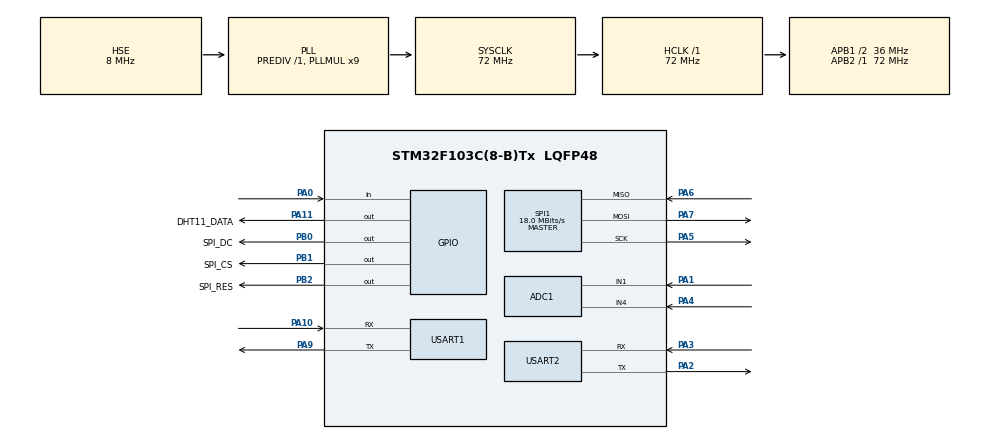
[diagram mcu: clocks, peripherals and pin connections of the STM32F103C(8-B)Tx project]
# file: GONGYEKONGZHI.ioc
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ADC1.Channel-2\#ChannelRegularConversion=ADC_CHANNEL_1
ADC1.Channel-3\#ChannelRegularConversion=ADC_CHANNEL_4
ADC1.ContinuousConvMode=ENABLE
ADC1.NbrOfConversion=2
ADC1.NbrOfConversionFlag=1
ADC1.Rank-2\#ChannelRegularConversion=1
ADC1.Rank-3\#ChannelRegularConversion=2
ADC1.SamplingTime-2\#ChannelRegularConversion=ADC_SAMPLETIME_7CYCLES_5
ADC1.SamplingTime-3\#ChannelRegularConversion=ADC_SAMPLETIME_7CYCLES_5
ADC1.master=1
Dma.ADC1.0.Direction=DMA_PERIPH_TO_MEMORY
Dma.ADC1.0.Instance=DMA1_Channel1
Dma.ADC1.0.MemDataAlignment=DMA_MDATAALIGN_HALFWORD
Dma.ADC1.0.MemInc=DMA_MINC_ENABLE
Dma.ADC1.0.Mode=DMA_NORMAL
Dma.ADC1.0.PeriphDataAlignment=DMA_PDATAALIGN_HALFWORD
Dma.ADC1.0.PeriphInc=DMA_PINC_DISABLE
Dma.ADC1.0.Priority=DMA_PRIORITY_HIGH
Dma.Request0=ADC1
Mcu.Family=STM32F1
Mcu.Name=STM32F103C(8-B)Tx
Mcu.Package=LQFP48
NVIC.DMA1_Channel1_IRQn=true\:0\:0\:false\:false\:true\:false\:true\:true
NVIC.PriorityGroup=NVIC_PRIORITYGROUP_4
NVIC.TIM2_IRQn=true\:0\:0\:false\:false\:true\:true\:true\:true
PA0-WKUP.Signal=GPIO_Input
PA1.Signal=ADCx_IN1
PA10.Mode=Asynchronous
PA10.Signal=USART1_RX
PA11.GPIO_Label=DHT11_DATA
PA11.GPIO_Speed=GPIO_SPEED_FREQ_HIGH
PA11.Signal=GPIO_Output
PA13.Mode=Serial_Wire
PA13.Signal=SYS_JTMS-SWDIO
PA14.Mode=Serial_Wire
PA14.Signal=SYS_JTCK-SWCLK
PA2.Mode=Asynchronous
PA2.Signal=USART2_TX
PA3.Mode=Asynchronous
PA3.Signal=USART2_RX
PA4.Signal=ADCx_IN4
PA5.Mode=Full_Duplex_Master
PA5.Signal=SPI1_SCK
PA6.Mode=Full_Duplex_Master
PA6.Signal=SPI1_MISO
PA7.Mode=Full_Duplex_Master
PA7.Signal=SPI1_MOSI
PA9.Mode=Asynchronous
PA9.Signal=USART1_TX
PB0.GPIO_Label=SPI_DC
PB0.GPIO_Speed=GPIO_SPEED_FREQ_HIGH
PB0.PinState=GPIO_PIN_SET
PB0.Signal=GPIO_Output
PB1.GPIO_Label=SPI_CS
PB1.GPIO_Speed=GPIO_SPEED_FREQ_HIGH
PB1.PinState=GPIO_PIN_SET
PB1.Signal=GPIO_Output
PB2.GPIO_Label=SPI_RES
PB2.GPIO_Speed=GPIO_SPEED_FREQ_HIGH
PB2.PinState=GPIO_PIN_SET
PB2.Signal=GPIO_Output
PC14-OSC32_IN.Mode=LSE-External-Oscillator
PC14-OSC32_IN.Signal=RCC_OSC32_IN
PC15-OSC32_OUT.Mode=LSE-External-Oscillator
PC15-OSC32_OUT.Signal=RCC_OSC32_OUT
PD0-OSC_IN.Mode=HSE-External-Oscillator
PD0-OSC_IN.Signal=RCC_OSC_IN
PD1-OSC_OUT.Mode=HSE-External-Oscillator
PD1-OSC_OUT.Signal=RCC_OSC_OUT
ProjectManager.HeapSize=0x200
ProjectManager.StackSize=0x400
ProjectManager.TargetToolchain=MDK-ARM V5.32
RCC.ADCPresc=RCC_ADCPCLK2_DIV6
RCC.AHBFreq_Value=72000000
RCC.APB1CLKDivider=RCC_HCLK_DIV2
RCC.APB1Freq_Value=36000000
RCC.APB1TimFreq_Value=72000000
RCC.APB2Freq_Value=72000000
RCC.APB2TimFreq_Value=72000000
RCC.HCLKFreq_Value=72000000
RCC.PLLMUL=RCC_PLL_MUL9
RCC.PLLSourceVirtual=RCC_PLLSOURCE_HSE
RCC.SYSCLKFreq_VALUE=72000000
RCC.SYSCLKSource=RCC_SYSCLKSOURCE_PLLCLK
RCC.USBFreq_Value=72000000
SH.ADCx_IN1.0=ADC1_IN1,IN1
SH.ADCx_IN4.0=ADC1_IN4,IN4
SPI1.BaudRatePrescaler=SPI_BAUDRATEPRESCALER_4
SPI1.CalculateBaudRate=18.0 MBits/s
SPI1.Direction=SPI_DIRECTION_2LINES
SPI1.Mode=SPI_MODE_MASTER
SPI1.VirtualType=VM_MASTER
TIM2.Period=10-1
TIM2.Prescaler=7200-1
TIM3.Prescaler=71
USART1.VirtualMode=VM_ASYNC
USART2.VirtualMode=VM_ASYNC
VP_TIM2_VS_ClockSourceINT.Mode=Internal
VP_TIM3_VS_ClockSourceINT.Mode=Internal
board=custom

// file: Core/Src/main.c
/* USER CODE BEGIN Header */
/**
  ******************************************************************************
  * @file           : main.c
  * @brief          : Main program body
  ******************************************************************************
  * @attention
  *
  * Copyright (c) 2025 STMicroelectronics.
  * All rights reserved.
  *
  * This software is licensed under terms that can be found in the LICENSE file
  * in the root directory of this software component.
  * If no LICENSE file comes with this software, it is provided AS-IS.
  *
  ******************************************************************************
  */
/* USER CODE END Header */
#include "main.h"
#include "adc.h"
#include "dma.h"
#include "spi.h"
#include "tim.h"
#include "usart.h"
#include "gpio.h"

/* USER CODE BEGIN Includes */
#include "FreeRTOS.h"
#include "task.h"
#include "app_datacollect.h"
#include "app_datacjson.h"
#include  "app_datatransform.h"
#include "Common_Debug.h"
/* USER CODE END Includes */

void SystemClock_Config(void);

/* USER CODE BEGIN 0 */
/**
 * 栈溢出钩子函数（当检测到任务栈溢出时调用）
 * @param xTask 溢出的任务句柄
 * @param pcTaskName 溢出的任务名称
 */
void vApplicationStackOverflowHook(TaskHandle_t xTask, char *pcTaskName)
{
    // 可以添加调试信息（如通过串口打印溢出的任务名）
    debug_printfln("Stack Overflow! Task: %s", pcTaskName);

    // 栈溢出通常是致命错误，此处可进入死循环方便调试
    for (;;);
}
/* USER CODE END 0 */

int main(void)
{

  /* MCU Configuration--------------------------------------------------------*/

  /* Reset of all peripherals, Initializes the Flash interface and the Systick. */
  HAL_Init();

  /* Configure the system clock */
  SystemClock_Config();

  /* Initialize all configured peripherals */
  MX_GPIO_Init();
  MX_DMA_Init();
  MX_ADC1_Init();
  MX_TIM2_Init();
  MX_USART1_UART_Init();
  MX_USART2_UART_Init();
  MX_TIM3_Init();
  MX_SPI1_Init();
  /* USER CODE BEGIN 2 */
  USART1_DebugWrite("\r\nBOOT_RAW: USART1 alive\r\n");
  setvbuf(stdout, NULL, _IONBF, 0);
  debug_printfln("BOOT: main enter");
  debug_printfln("DEBUG UART=USART1 PA9(TX)/PA10(RX), ESP UART=USART2 PA2(TX)/PA3(RX)");
  app_collect_init();
  debug_printfln("BOOT: app_collect_init done");

  FreeRTOS_Start();
  /* USER CODE END 2 */

  /* Infinite loop */
  while (1)
  {

  }
}

void SystemClock_Config(void)
{
  RCC_OscInitTypeDef RCC_OscInitStruct = {0};
  RCC_ClkInitTypeDef RCC_ClkInitStruct = {0};
  RCC_PeriphCLKInitTypeDef PeriphClkInit = {0};

  /** Initializes the RCC Oscillators according to the specified parameters
  * in the RCC_OscInitTypeDef structure.
  */
  RCC_OscInitStruct.OscillatorType = RCC_OSCILLATORTYPE_HSE;
  RCC_OscInitStruct.HSEState = RCC_HSE_ON;
  RCC_OscInitStruct.HSEPredivValue = RCC_HSE_PREDIV_DIV1;
  RCC_OscInitStruct.HSIState = RCC_HSI_ON;
  RCC_OscInitStruct.PLL.PLLState = RCC_PLL_ON;
  RCC_OscInitStruct.PLL.PLLSource = RCC_PLLSOURCE_HSE;
  RCC_OscInitStruct.PLL.PLLMUL = RCC_PLL_MUL9;
  if (HAL_RCC_OscConfig(&RCC_OscInitStruct) != HAL_OK)
  {
    Error_Handler();
  }

  /** Initializes the CPU, AHB and APB buses clocks
  */
  RCC_ClkInitStruct.ClockType = RCC_CLOCKTYPE_HCLK|RCC_CLOCKTYPE_SYSCLK
                              |RCC_CLOCKTYPE_PCLK1|RCC_CLOCKTYPE_PCLK2;
  RCC_ClkInitStruct.SYSCLKSource = RCC_SYSCLKSOURCE_PLLCLK;
  RCC_ClkInitStruct.AHBCLKDivider = RCC_SYSCLK_DIV1;
  RCC_ClkInitStruct.APB1CLKDivider = RCC_HCLK_DIV2;
  RCC_ClkInitStruct.APB2CLKDivider = RCC_HCLK_DIV1;

  if (HAL_RCC_ClockConfig(&RCC_ClkInitStruct, FLASH_LATENCY_2) != HAL_OK)
  {
    Error_Handler();
  }
  PeriphClkInit.PeriphClockSelection = RCC_PERIPHCLK_ADC;
  PeriphClkInit.AdcClockSelection = RCC_ADCPCLK2_DIV6;
  if (HAL_RCCEx_PeriphCLKConfig(&PeriphClkInit) != HAL_OK)
  {
    Error_Handler();
  }
}

void Error_Handler(void)
{
  __disable_irq();
  while (1)
  {
  }
}
